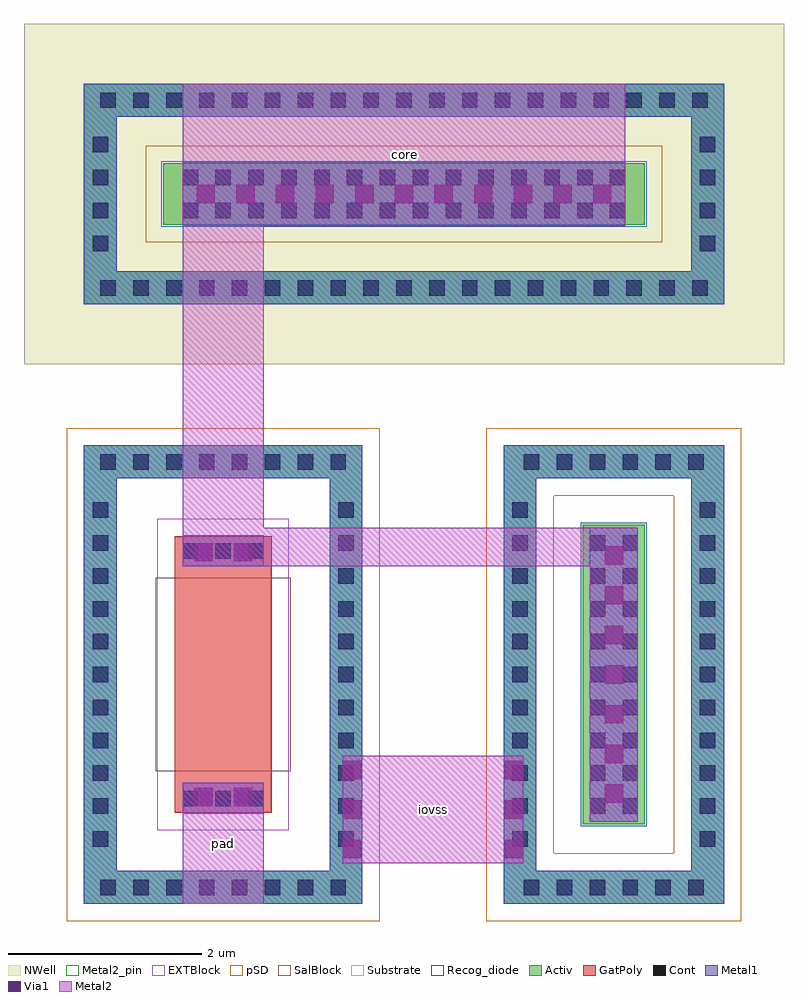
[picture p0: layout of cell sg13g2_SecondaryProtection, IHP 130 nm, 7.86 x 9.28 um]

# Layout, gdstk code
import gdstk
lib = gdstk.Library(unit=1e-6, precision=1e-09)
def R(c, l, rs):  # rectangles x0, y0, x1, y1
    for r in rs: c.add(gdstk.rectangle(r[:2], r[2:], *l))
def A(c, l, x, y, w, h, nx, ny, dx, dy):  # array of equal rectangles
    R(c, l, [(x+i*dx, y+j*dy, x+i*dx+w, y+j*dy+h) for i in range(nx) for j in range(ny)])
def P(c, l, *ps):  # polygons
    for p in ps: c.add(gdstk.Polygon(p, *l))
Activ = (1, 0)
GatPoly = (5, 0)
Cont = (6, 0)
Metal1 = (8, 0)
Metal2 = (10, 0)
Metal2_pin = (10, 2)
pSD = (14, 0)
Via1 = (19, 0)
SalBlock = (28, 0)
NWell = (31, 0)
Substrate = (40, 0)
Recog_diode = (99, 31)
EXTBlock = (111, 0)

sg13g2_guardring_p576w94 = lib.new_cell('sg13g2_GuardRing_P576W948HFF')
P(sg13g2_guardring_p576w94, Activ, [(-1.44,-2.37),(-1.44,2.03),(-1.1,2.03),(-1.1,-2.03),(1.1,-2.03),(1.1,2.03),(-1.44,2.03),(-1.44,2.37),(1.44,2.37),(1.44,-2.37)])
A(sg13g2_guardring_p576w94, Cont, -1.27, -2.28, 0.16, 0.16, 8, 2, 0.34, 4.4)
A(sg13g2_guardring_p576w94, Cont, -1.35, -1.78, 0.16, 0.16, 1, 11, 0, 0.34)
A(sg13g2_guardring_p576w94, Cont, 1.19, -1.78, 0.16, 0.16, 1, 11, 0, 0.34)
P(sg13g2_guardring_p576w94, Metal1, [(-1.44,-2.37),(-1.44,2.03),(-1.1,2.03),(-1.1,-2.03),(1.1,-2.03),(1.1,2.03),(-1.44,2.03),(-1.44,2.37),(1.44,2.37),(1.44,-2.37)])
P(sg13g2_guardring_p576w94, pSD, [(-1.62,-2.55),(-1.62,1.85),(-0.92,1.85),(-0.92,-1.85),(0.92,-1.85),(0.92,1.85),(-1.62,1.85),(-1.62,2.55),(1.62,2.55),(1.62,-2.55)])
P(sg13g2_guardring_p576w94, Substrate, [(-1.44,-2.37),(-1.44,2.03),(-1.1,2.03),(-1.1,-2.03),(1.1,-2.03),(1.1,2.03),(-1.44,2.03),(-1.44,2.37),(1.44,2.37),(1.44,-2.37)])
sg13g2_guardring_p576w94.add(gdstk.Label('sub!', (-1.27,-2.2), layer=63, texttype=0))

sg13g2_guardring_p456w94 = lib.new_cell('sg13g2_GuardRing_P456W948HFF')
P(sg13g2_guardring_p456w94, Activ, [(-1.14,-2.37),(-1.14,2.03),(-0.8,2.03),(-0.8,-2.03),(0.8,-2.03),(0.8,2.03),(-1.14,2.03),(-1.14,2.37),(1.14,2.37),(1.14,-2.37)])
A(sg13g2_guardring_p456w94, Cont, -0.93, -2.28, 0.16, 0.16, 6, 2, 0.34, 4.4)
A(sg13g2_guardring_p456w94, Cont, -1.05, -1.78, 0.16, 0.16, 1, 11, 0, 0.34)
A(sg13g2_guardring_p456w94, Cont, 0.89, -1.78, 0.16, 0.16, 1, 11, 0, 0.34)
P(sg13g2_guardring_p456w94, Metal1, [(-1.14,-2.37),(-1.14,2.03),(-0.8,2.03),(-0.8,-2.03),(0.8,-2.03),(0.8,2.03),(-1.14,2.03),(-1.14,2.37),(1.14,2.37),(1.14,-2.37)])
P(sg13g2_guardring_p456w94, pSD, [(-1.32,-2.55),(-1.32,1.85),(-0.62,1.85),(-0.62,-1.85),(0.62,-1.85),(0.62,1.85),(-1.32,1.85),(-1.32,2.55),(1.32,2.55),(1.32,-2.55)])
P(sg13g2_guardring_p456w94, Substrate, [(-1.14,-2.37),(-1.14,2.03),(-0.8,2.03),(-0.8,-2.03),(0.8,-2.03),(0.8,2.03),(-1.14,2.03),(-1.14,2.37),(1.14,2.37),(1.14,-2.37)])
sg13g2_guardring_p456w94.add(gdstk.Label('sub!', (-0.97,-2.2), layer=63, texttype=0))

sg13g2_guardring_n1324w4 = lib.new_cell('sg13g2_GuardRing_N1324W456HTF')
P(sg13g2_guardring_n1324w4, Activ, [(-3.31,-1.14),(-3.31,0.8),(-2.97,0.8),(-2.97,-0.8),(2.97,-0.8),(2.97,0.8),(-3.31,0.8),(-3.31,1.14),(3.31,1.14),(3.31,-1.14)])
A(sg13g2_guardring_n1324w4, Cont, -3.14, -1.05, 0.16, 0.16, 19, 2, 0.34, 1.94)
A(sg13g2_guardring_n1324w4, Cont, -3.22, -0.59, 0.16, 0.16, 1, 4, 0, 0.34)
A(sg13g2_guardring_n1324w4, Cont, 3.06, -0.59, 0.16, 0.16, 1, 4, 0, 0.34)
P(sg13g2_guardring_n1324w4, Metal1, [(-3.31,-1.14),(-3.31,0.8),(-2.97,0.8),(-2.97,-0.8),(2.97,-0.8),(2.97,0.8),(-3.31,0.8),(-3.31,1.14),(3.31,1.14),(3.31,-1.14)])
R(sg13g2_guardring_n1324w4, NWell, [(-3.93,-1.76,3.93,1.76)])

sg13g2_secondaryprotecti = lib.new_cell('sg13g2_SecondaryProtection')
R(sg13g2_secondaryprotecti, Activ, [(5.16,0.82,5.8,3.92), (0.82,7.02,5.8,7.66)])
R(sg13g2_secondaryprotecti, GatPoly, [(0.94,0.94,1.94,3.8)])
A(sg13g2_secondaryprotecti, Cont, 5.23, 0.93, 0.16, 0.16, 1, 9, 0, 0.34)
A(sg13g2_secondaryprotecti, Cont, 5.57, 0.93, 0.16, 0.16, 1, 9, 0, 0.34)
A(sg13g2_secondaryprotecti, Cont, 1.02, 1.01, 0.16, 0.16, 3, 2, 0.34, 2.56)
A(sg13g2_secondaryprotecti, Cont, 1.02, 7.09, 0.16, 0.16, 14, 2, 0.34, 0.34)
R(sg13g2_secondaryprotecti, Metal1, [(2.67,0.42,2.88,1.53), (4.34,0.42,4.55,1.53), (5.23,0.85,5.73,3.89), (1.02,0.93,1.86,1.25), (1.02,3.49,1.86,3.81), (1.02,7.01,5.6,7.67)])
R(sg13g2_secondaryprotecti, Metal2, [(1.02,0,1.86,1.25), (2.675,0.42,4.545,1.53)])
P(sg13g2_secondaryprotecti, Metal2, [(5.23,0.85),(5.23,3.49),(1.02,3.49),(1.02,8.48),(5.6,8.48),(5.6,7.01),(1.86,7.01),(1.86,3.89),(5.73,3.89),(5.73,0.85)])
R(sg13g2_secondaryprotecti, Metal2_pin, [(1.02,0,1.86,1.25), (2.675,0.42,4.545,1.53), (1.02,7.01,5.6,8.48)])
R(sg13g2_secondaryprotecti, pSD, [(0,0,2.88,4.74), (0.64,6.84,5.98,7.84)])
A(sg13g2_secondaryprotecti, Via1, 2.68, 0.47, 0.19, 0.19, 1, 3, 0, 0.41)
A(sg13g2_secondaryprotecti, Via1, 4.35, 0.47, 0.19, 0.19, 1, 3, 0, 0.41)
A(sg13g2_secondaryprotecti, Via1, 5.385, 1.045, 0.19, 0.19, 1, 7, 0, 0.41)
A(sg13g2_secondaryprotecti, Via1, 1.165, 7.245, 0.19, 0.19, 11, 1, 0.41, 0)
R(sg13g2_secondaryprotecti, Via1, [(1.14,1.01,1.33,1.2), (1.55,1.01,1.74,1.2), (1.14,3.54,1.33,3.73), (1.55,3.54,1.74,3.73)])
R(sg13g2_secondaryprotecti, SalBlock, [(0.74,1.37,2.14,3.37)])
R(sg13g2_secondaryprotecti, NWell, [(0.2,6.4,6.42,8.28)])
R(sg13g2_secondaryprotecti, Recog_diode, [(5.14,0.8,5.82,3.94), (0.8,7,5.82,7.68)])
R(sg13g2_secondaryprotecti, EXTBlock, [(0.76,0.76,2.12,3.98)])
sg13g2_secondaryprotecti.add(gdstk.Reference(sg13g2_guardring_p576w94, (1.44,2.37)))
sg13g2_secondaryprotecti.add(gdstk.Reference(sg13g2_guardring_p456w94, (5.48,2.37)))
sg13g2_secondaryprotecti.add(gdstk.Reference(sg13g2_guardring_n1324w4, (3.31,7.34)))
sg13g2_secondaryprotecti.add(gdstk.Label('pad', (1.44,0.625), layer=10, texttype=25))
sg13g2_secondaryprotecti.add(gdstk.Label('core', (3.31,7.745), layer=10, texttype=25))
sg13g2_secondaryprotecti.add(gdstk.Label('iovss', (3.61,0.975), layer=10, texttype=25))

lib.write_gds('sg13g2_SecondaryProtection.gds')
